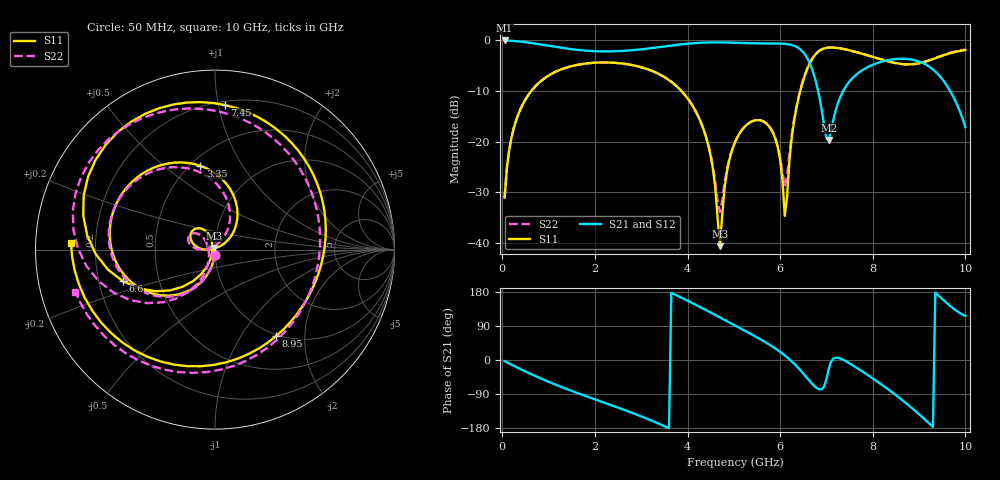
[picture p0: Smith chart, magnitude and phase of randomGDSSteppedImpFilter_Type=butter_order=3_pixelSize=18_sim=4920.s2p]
! freq	dB(S11)	phase(S11)	dB(S12)	phase(S12)
!  dB(S21)	phase(S21)	dB(S22)	phase(S22)
!S-par simulation data
#  GHz  S  DB  R 50
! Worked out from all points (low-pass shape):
!   200 points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, 50 MHz to 10 GHz, reference 50 ohm
!   highest |S21| = -0.01 dB at 50 MHz (marker M1); lowest = -19.7 dB at 7.05 GHz (marker M2)
!   |S21| within 3 dB of the highest: start of sweep to 6.552 GHz
!   lowest |S11| = -40.6 dB at 4.7 GHz (marker M3), VSWR 1.02, Z = 49.7 + j0.863 ohm
!   |S11| at or under -10 dB: start of sweep to 625.3 MHz; 3.869 GHz to 6.434 GHz (2.565 GHz wide, 49.8 % of centre)
!   |S22| runs from -33.9 to -1.4 dB; largest |S21 - S12| = 0
!   S11 on the Smith chart (normalised r, x): 50 MHz: 1.00, -0.06; 3.35 GHz: 0.56, +0.67; 6.6 GHz: 0.30, -0.15; 7.45 GHz: 0.23, +1.04; 8.95 GHz: 0.98, -1.45; 10 GHz: 0.11, +0.02
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0.05  -31.05 -93.2  -0.01 -3.1  -0.01 -3.1  -31.05 -93.2
0.2  -19.14 -103.0  -0.08 -12.4  -0.08 -12.4  -19.13 -102.7
0.5  -11.66 -121.3  -0.35 -30.3  -0.35 -30.3  -11.66 -120.3
1.75  -4.63 175.0  -1.97 -92.8  -1.97 -92.8  -4.63 178.4
3.35  -6.49 100.0  -1.37 -166.4  -1.37 -166.4  -6.48 107.9
3.4  -6.72 97.3  -1.31 -169.1  -1.31 -169.1  -6.71 105.4
4.35  -17.68 42.1  -0.43 134.8  -0.43 134.8  -17.60 57.6
4.7  -40.62 111.1  -0.38 112.3  -0.38 112.3  -33.85 121.2
4.85  -25.92 -179.3  -0.41 102.6  -0.41 102.6  -25.43 178.3
5.05  -19.61 170.8  -0.47 89.6  -0.47 89.6  -19.51 176.8
5.8  -17.46 121.4  -0.61 37.9  -0.61 37.9  -17.43 138.3
6  -23.57 110.8  -0.63 21.4  -0.63 21.4  -23.08 138.0
6.1  -34.64 149.0  -0.68 12.2  -0.68 12.2  -28.84 -179.2
6.3  -16.00 -119.5  -1.04 -9.3  -1.04 -9.3  -15.56 -114.6
6.6  -5.31 -161.1  -3.75 -50.2  -3.75 -50.2  -5.20 -149.2
6.7  -3.54 -177.9  -5.93 -64.0  -5.93 -64.0  -3.46 -164.8
7.05  -1.41 129.4  -19.67 -23.2  -19.67 -23.2  -1.37 145.4
7.45  -1.86 86.1  -8.67 -5.3  -8.67 -5.3  -1.84 104.6
8.35  -4.17 5.7  -3.86 -79.0  -3.86 -79.0  -4.19 26.5
8.95  -4.58 -54.6  -4.01 -137.7  -4.01 -137.7  -4.61 -37.4
9.5  -3.02 -122.4  -7.64 161.0  -7.64 161.0  -2.95 -106.5
10  -1.90 177.4  -17.09 116.3  -17.09 116.3  -1.81 -163.2
